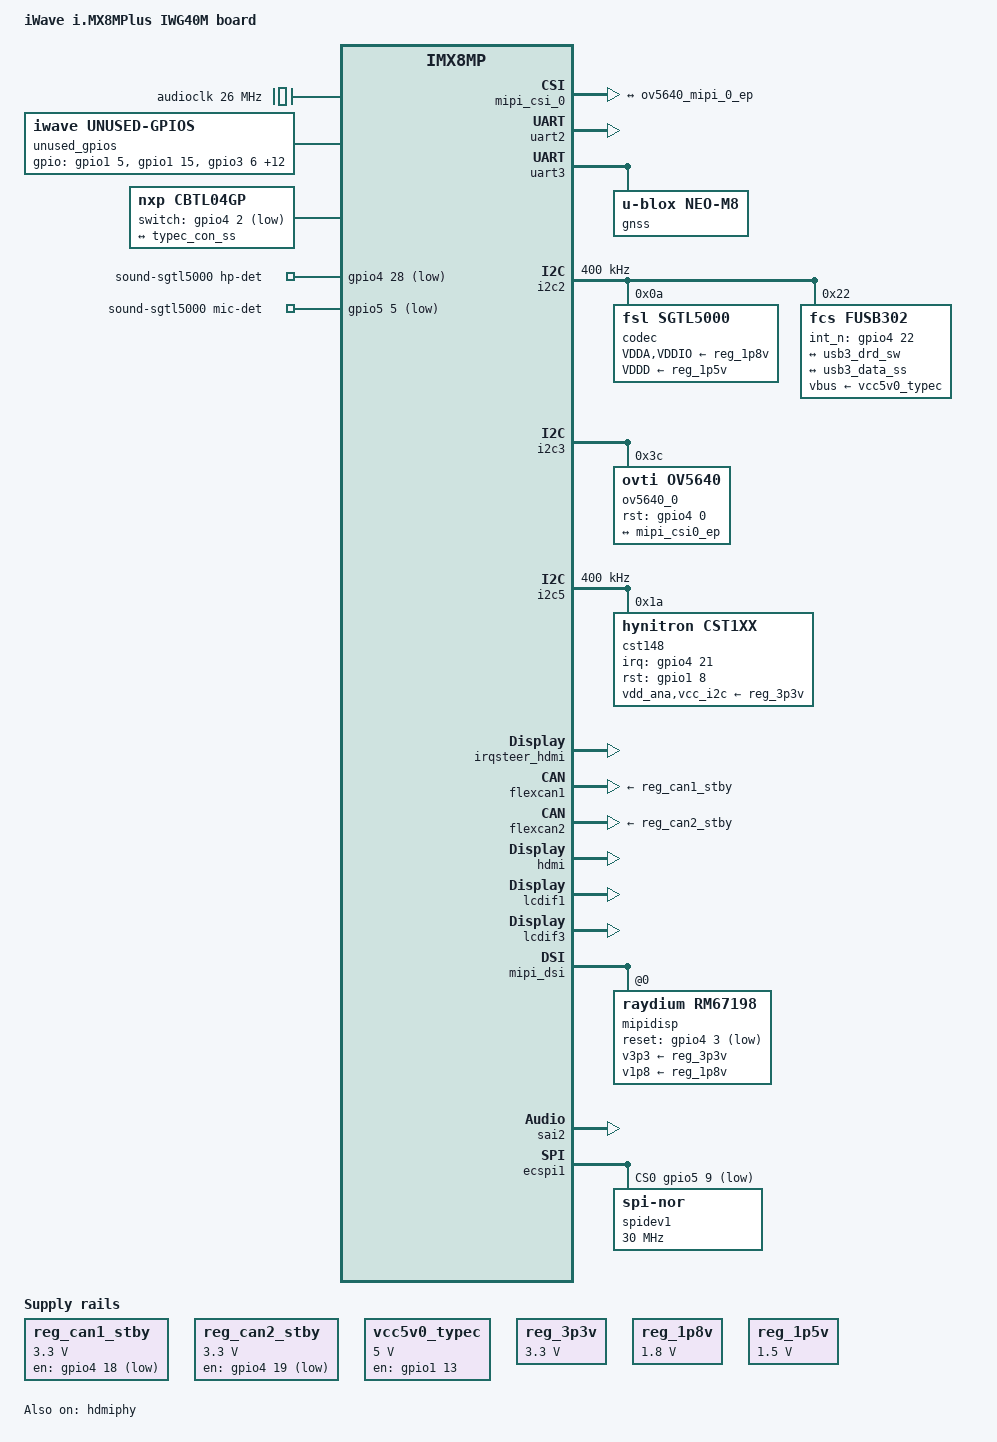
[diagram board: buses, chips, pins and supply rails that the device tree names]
// SPDX-License-Identifier: (GPL-2.0+ OR MIT)
/*
 * Copyright (C) 2021 iWave System Technologies Pvt Ltd. 
 */

/dts-v1/;

#include <dt-bindings/usb/pd.h>
#include "imx8mp-iwg40m.dtsi"

/ {
	model = "iWave i.MX8MPlus IWG40M board";
	compatible = "fsl,imx8mp-iwave", "fsl,imx8mp";

        clocks {
                #address-cells = <1>;
                #size-cells = <0>;

                audioclk: ext26Mz { /* SGTL5000: External Audio Clock */
                        compatible = "fixed-clock";
                        clock-frequency = <26000000>;
                        reg=<0>;
                        #clock-cells = <0>;
                };
        };

        unused_gpios: unused_gpios { /* GPIO: Setting Unused GPIOs as input pins */
                compatible = "iwave,unused-gpios";
                pinctrl-names = "default";
                pinctrl-0 = <&pinctrl_unused_gpio>;
                status = "okay";
        };

	reg_can1_stby: regulator-can1-stby { /* CAN: CAN0 Standby Regulator */
		compatible = "regulator-fixed";
		regulator-name = "can1-stby";
		pinctrl-names = "default";
		pinctrl-0 = <&pinctrl_flexcan1_reg>;
		regulator-min-microvolt = <3300000>;
		regulator-max-microvolt = <3300000>;
		gpio = <&gpio4 18 GPIO_ACTIVE_HIGH>;
		regulator-always-on;
	};

	reg_can2_stby: regulator-can2-stby { /* CAN: CAN1 Standby Regulator */
		compatible = "regulator-fixed";
		regulator-name = "can2-stby";
		pinctrl-names = "default";
		pinctrl-0 = <&pinctrl_flexcan2_reg>;
		regulator-min-microvolt = <3300000>;
		regulator-max-microvolt = <3300000>;
		gpio = <&gpio4 19 GPIO_ACTIVE_HIGH>;
		regulator-always-on;
	};

        vcc5v0_typec: vcc5v0-typec-regulator { /* USB3.0: VBUS enable regulator*/
                compatible = "regulator-fixed";
                regulator-name = "vcc5v0_typec";
                pinctrl-names = "default";
                pinctrl-0 = <&pinctrl_usb0_reg>;
                regulator-min-microvolt = <5000000>;
                regulator-max-microvolt = <5000000>;
                gpio = <&gpio1 13 GPIO_ACTIVE_HIGH>;
                off-on-delay-us = <20000>;
                enable-active-high;
        };

        reg_3p3v: 3p3v { /* Regulator: Fixed 3.3V Regulator */
                compatible = "regulator-fixed";
                regulator-name = "3P3V";
                regulator-min-microvolt = <3300000>;
                regulator-max-microvolt = <3300000>;
                regulator-always-on;
                regulator-boot-on;
        };

        reg_1p8v: 1p8v { /* Regulator: Fixed 1.8V Regulator */
                compatible = "regulator-fixed";
                regulator-name = "1P8V";
                regulator-min-microvolt = <1800000>;
                regulator-max-microvolt = <1800000>;
                regulator-always-on;
        };

        reg_1p5v: 1p5v { /* Regulator: Fixed 1.5V Regulator */
               compatible = "regulator-fixed";
               regulator-name = "1P5V";
               regulator-min-microvolt = <1500000>;
               regulator-max-microvolt = <1500000>;
               regulator-always-on;
       };

	cbtl04gp {
		compatible = "nxp,cbtl04gp";
		pinctrl-names = "default";
		pinctrl-0 = <&pinctrl_typec_mux>;
		switch-gpios = <&gpio4 2 GPIO_ACTIVE_LOW>;
		orientation-switch;

		port {
			usb3_data_ss: endpoint {
				remote-endpoint = <&typec_con_ss>;
			};
		};
	};

        sound-hdmi {
		status = "okay";
	};

       	sound-sgtl5000 { /* SGTL5000: Audio Codec */
               compatible = "simple-audio-card";
               pinctrl-names = "default";
               pinctrl-0 = <&pinctrl_hp_mic_detect>;
               codec-master;
               simple-audio-card,name = "sgtl5000-audio";
               simple-audio-card,format = "i2s";
               simple-audio-card,hp-det-gpio = <&gpio4 28 GPIO_ACTIVE_LOW>;
               simple-audio-card,mic-det-gpio = <&gpio5 5 GPIO_ACTIVE_LOW>;
               simple-audio-card,widgets =
                       "Microphone", "Mic Jack",
                       "Headphone", "Headphones",
                       "Speaker", "Speaker Ext",
                       "Line", "Line In Jack";
               simple-audio-card,routing =
                       "MIC_IN", "Mic Jack",
                       "Mic Jack", "Mic Bias",
                       "LINE_IN", "Line In Jack",
                       "Headphones", "HP_OUT",
                       "Speaker Ext", "LINE_OUT";      

               simple-audio-card,cpu {
                       sound-dai = <&sai2>;
                       frame-master;
                       bitclock-master;
               };

               simple-audio-card,codec {
                       sound-dai = <&codec>;
                       frame-master;
                       bitclock-master;
                       system-clock-frequency = <26000000>;
               };
       };
};

&mipi_csi_0 { /* MIPI_CSI0: OV5640 Camera */
        #address-cells = <1>;
        #size-cells = <0>;
        status = "okay";

        port@0 {
                reg = <0>;
                mipi_csi0_ep: endpoint {
                        remote-endpoint = <&ov5640_mipi_0_ep>;
                        data-lanes = <2>;
                        csis-hs-settle = <13>;
                        csis-clk-settle = <2>;
                        csis-wclk;
                };
        };
};

&uart2 {
        pinctrl-names = "default";
        pinctrl-0 = <&pinctrl_uart2>;
        assigned-clocks = <&clk IMX8MP_CLK_UART2>;
        assigned-clock-parents = <&clk IMX8MP_SYS_PLL1_80M>;
        fsl,uart-has-rtscts;
        status = "okay";
};

&uart3 {
        pinctrl-names = "default";
        pinctrl-0 = <&pinctrl_uart3>;
        assigned-clocks = <&clk IMX8MP_CLK_UART3>;
        assigned-clock-parents = <&clk IMX8MP_SYS_PLL1_80M>;
        status = "okay";

           gnss {
                compatible = "u-blox,neo-m8";
                status = "okay";
                current-speed = <9600>;
        };
};

&i2c2 {
	clock-frequency = <400000>;
	pinctrl-names = "default";
	pinctrl-0 = <&pinctrl_i2c2>;
	status = "okay";

        codec: sgtl5000@a { /* SGTL5000: Audio Codec */
               compatible = "fsl,sgtl5000";
               reg = <0xa>;
               #sound-dai-cells = <0>;
	       clocks = <&audioclk>;
               VDDA-supply = <&reg_1p8v>;
               VDDIO-supply = <&reg_1p8v>;
               VDDD-supply = <&reg_1p5v>;
               status = "okay";
        };


	fusb302: typec-port@22 { /* FUSB TypeC */
		 compatible = "fcs,fusb302";
		 reg = <0x22>;
		 pinctrl-names = "default"; 
		 pinctrl-0 = <&pinctrl_typec>;
		 fcs,int_n = <&gpio4 22 IRQ_TYPE_LEVEL_LOW>;
		 vbus-supply = <&vcc5v0_typec>;
		 status = "okay";

		 port {
			typec_dr_sw: endpoint {
			remote-endpoint = <&usb3_drd_sw>;
			};
		};

	usb_con: connector {
		 compatible = "usb-c-connector";
		 label = "USB-C";
		 power-role = "dual";
		 try-power-role = "sink";
		 source-pdos = <PDO_FIXED(5000, 400, PDO_FIXED_DUAL_ROLE | PDO_FIXED_DATA_SWAP | PDO_FIXED_USB_COMM)>;
		 sink-pdos = <PDO_FIXED(5000, 400, PDO_FIXED_DUAL_ROLE | PDO_FIXED_DATA_SWAP | PDO_FIXED_USB_COMM)>;
		 op-sink-microwatt = <2500000>;
		 data-role = "dual";

		 ports {
			#address-cells = <1>;
			#size-cells = <0>;

			 port@1 {
				 reg = <1>;
				typec_con_ss: endpoint {
					remote-endpoint = <&usb3_data_ss>;
					};
				 };
			 };
		 };
	};
};

&i2c3 { /* MIPI_CSI0: OV5640 Camera */
        ov5640_0: ov5640_mipi@3c { 
		compatible = "ovti,ov5640";
		reg = <0x3c>;
		status = "okay";
		pinctrl-names = "default";
		pinctrl-0 = <&pinctrl_csi0_rst>,<&pinctrl_csi_mclk>;
                clocks = <&clk IMX8MP_CLK_IPP_DO_CLKO1>;
                clock-names = "xclk";
                assigned-clocks = <&clk IMX8MP_CLK_IPP_DO_CLKO1>;
                assigned-clock-parents = <&clk IMX8MP_CLK_24M>;
		assigned-clock-rates = <24000000>;
		csi_id = <0>;
		rst-gpios = <&gpio4 0 GPIO_ACTIVE_HIGH>;
		mclk = <24000000>;
		mclk_source = <0>;
		mipi_csi;

		port {
                        ov5640_mipi_0_ep: endpoint {
                                remote-endpoint = <&mipi_csi0_ep>;
                                data-lanes = <1 2>;
                                clock-lanes = <0>;
                        };
                };
        };
};

&i2c5 {
        clock-frequency = <400000>;
        pinctrl-names = "default";
        pinctrl-0 = <&pinctrl_i2c5>;
        status = "okay";

       cst148@1a { /* Touch: Hynitron Touch panel (1080p display) */
               compatible = "hynitron,cst1xx";
               reg = <0x1a>;
               interrupt-parent = <&gpio4>;
               interrupts = <21 2>;
               vdd_ana-supply = <&reg_3p3v>;
               vcc_i2c-supply = <&reg_3p3v>;
               hynitron,panel-coords = <0 1080 0 1920>;
               hynitron,display-coords = <0 1080 0 1920>;
               pinctrl-names = "default";
               pinctrl-0 = <&pinctrl_ts_active_iwg40m>;
               hynitron,irq-gpio = <&gpio4 21 0>;
               hynitron,rst-gpio = <&gpio1 8 0>;
               report_type = <1>;
               status = "okay";
       };	
};

&irqsteer_hdmi {
	status = "okay";
};

&flexcan1 { /* CAN: FLEXCAN1 */
	xceiver-supply = <&reg_can1_stby>;
	status = "okay";
};

&flexcan2 { /* CAN: FLEXCAN2 */
	xceiver-supply = <&reg_can2_stby>;
	status = "okay";
};

&hdmi {
        status = "okay";
};

&hdmiphy {
        status = "okay";
};

&lcdif1 { /*LCD Display controller*/
	status = "okay";
};

&lcdif3 { /*HDMI Display contoller*/
	status = "okay";

	thres-low  = <1 2>;             /* (FIFO * 1 / 2) */
	thres-high = <3 4>;             /* (FIFO * 3 / 4) */
};

&mipi_dsi {
       status = "okay";
       fsl,clock-drop-level = <2>;

       mipidisp: panel@0 { /* MIPI_DSI: MIPI DSI Host */
               compatible = "raydium,rm67198";
               reg = <0>;
               pinctrl-0 = <&pinctrl_mipi_dsi_en>;
               pinctrl-names = "default";
               v3p3-supply = <&reg_3p3v>;
               v1p8-supply = <&reg_1p8v>;
               reset-gpios = <&gpio4 3 GPIO_ACTIVE_LOW>;
               dsi-lanes = <4>;
               video-mode = <2>;
               width-mm = <68>;
               height-mm = <121>;
	       status = "okay";
       };

};

&sai2 {  /* SGTL5000: Serial Audio Interface for SGTL5000 Audio Codec */
	#sound-dai-cells = <0>;
	pinctrl-names = "default";
	pinctrl-0 = <&pinctrl_sai2>;
	assigned-clocks = <&clk IMX8MP_CLK_SAI2>;
	assigned-clock-parents = <&clk IMX8MP_AUDIO_PLL1_OUT>;
	assigned-clock-rates = <24576000>;
	status = "okay";
};

&sdma2 {
	status = "okay";
};

&ecspi1 { /*ECSPI Flash Device */
        #address-cells = <1>;
        #size-cells = <0>;
        fsl,spi-num-chipselects = <1>;
        pinctrl-names = "default";
        pinctrl-0 = <&pinctrl_ecspi1>;
        cs-gpios = <&gpio5 9 GPIO_ACTIVE_LOW>;
        status = "okay";

        spidev1: spi@0 { /* SST25WF020A SPI Flash */
                #address-cells = <1>;
                #size-cells = <1>;
                compatible = "jedec,spi-nor", "is25wp016d";
                spi-max-frequency = <30000000>;
                reg = <0>;
                m25p,fast-read;
                status = "okay";
        };
};

&iomuxc {
        
	pinctrl_ecspi1: ecspi1grp { /* ECSPI: ECSPI IOMUX Pin Configuration */
                fsl,pins = <
                        MX8MP_IOMUXC_ECSPI1_SCLK__ECSPI1_SCLK           0x82
                        MX8MP_IOMUXC_ECSPI1_MOSI__ECSPI1_MOSI           0x82
                        MX8MP_IOMUXC_ECSPI1_MISO__ECSPI1_MISO           0x82
                        MX8MP_IOMUXC_ECSPI1_SS0__GPIO5_IO09             0x21
                >;
        };

	pinctrl_flexcan1_reg: flexcan1reggrp {
		fsl,pins = <
			MX8MP_IOMUXC_SAI1_TXD6__GPIO4_IO18	0x154
		>;
	};

	pinctrl_flexcan2_reg: flexcan2reggrp {
		fsl,pins = <
			MX8MP_IOMUXC_SAI1_TXD7__GPIO4_IO19	0x154
		>;
	};

	pinctrl_i2c2: i2c2grp { /* I2C2: I2C2 IOMUX Pin Configuration */
		fsl,pins = <
			MX8MP_IOMUXC_I2C2_SCL__I2C2_SCL			0x400001c3
			MX8MP_IOMUXC_I2C2_SDA__I2C2_SDA			0x400001c3
		>;
	};

        pinctrl_i2c5: i2c5grp { /* I2C2: I2C2 IOMUX Pin Configuration */
                fsl,pins = <
                        MX8MP_IOMUXC_SPDIF_TX__I2C5_SCL                 0x400001c3
                        MX8MP_IOMUXC_SPDIF_RX__I2C5_SDA                 0x400001c3
                >;
        };

	pinctrl_ts_active_iwg40m: touch { /* Touch: IOMUX Pin Configuration */
		fsl,pins = <
			MX8MP_IOMUXC_SAI2_RXFS__GPIO4_IO21		0x1c4 /* Touch IRQ GPIO */
			MX8MP_IOMUXC_GPIO1_IO08__GPIO1_IO08		0x1c4 /* Touch Reset GPIO */
                >;
        };

	pinctrl_mipi_dsi_en: mipi_dsi_en {
		fsl,pins = <
			MX8MP_IOMUXC_SAI1_RXD1__GPIO4_IO03	0x16 /* Reset GPIO */
		>;
	};

	pinctrl_typec: typecgrp {
		fsl,pins = <
			MX8MP_IOMUXC_SAI2_RXC__GPIO4_IO22	0x1c4 /* Type C IRQ GPIO*/
		>;
	};

	pinctrl_typec_mux: typecmuxgrp {
		fsl,pins = <
			MX8MP_IOMUXC_SAI1_RXD0__GPIO4_IO02	0x1c4 /* Type C selection GPIO*/
		>;
	};

	pinctrl_sai2: sai2grp { /* SGTL5000: SAI Audio IOMUX Pin Configuration */
		fsl,pins = <
			MX8MP_IOMUXC_SAI2_TXC__AUDIOMIX_SAI2_TX_BCLK	0xd6
			MX8MP_IOMUXC_SAI2_TXFS__AUDIOMIX_SAI2_TX_SYNC	0xd6
			MX8MP_IOMUXC_SAI2_TXD0__AUDIOMIX_SAI2_TX_DATA00	0xd6
			MX8MP_IOMUXC_SAI2_RXD0__AUDIOMIX_SAI2_RX_DATA00	0xd6
		>;
	};

       pinctrl_hp_mic_detect: hp_mic_detect { /* SGTL5000: IOMUX Pin Configuration */
               fsl,pins = <
			MX8MP_IOMUXC_SAI3_RXFS__GPIO4_IO28		0x1c4 /* HeadPhone Detect GPIO */
			MX8MP_IOMUXC_SPDIF_EXT_CLK__GPIO5_IO05		0x1c4 /* MicroPhone Detect GPIO */
		>;
	};

        pinctrl_uart2: uart2grp { /*UART1: DATA UART IOMUX Pin Configuration*/
                fsl,pins = <
                        MX8MP_IOMUXC_UART2_TXD__UART2_DCE_TX          0x140
                        MX8MP_IOMUXC_UART2_RXD__UART2_DCE_RX          0x140
                        MX8MP_IOMUXC_SAI3_RXC__UART2_DCE_CTS          0x140
                        MX8MP_IOMUXC_SAI3_RXD__UART2_DCE_RTS         0x140
                >;
        };

        pinctrl_uart3: uart3grp { /*UART3: GNSS IOMUX Pin Configuration*/
                fsl,pins = <
			MX8MP_IOMUXC_NAND_CE0_B__UART3_DCE_TX    0x49
			MX8MP_IOMUXC_NAND_ALE__UART3_DCE_RX   0x49
                >;
        };

        pinctrl_usb0_reg: usbreggrp { /*USB OverCurrent IOMUX Pin Configuration */
                fsl,pins = <
                        MX8MP_IOMUXC_GPIO1_IO13__GPIO1_IO13      0x154
                >;
        };

	pinctrl_csi0_rst: csi0_rst_grp { /* MIPI_CSI0: Camera Reset IOMUX Pin Configuration */
		fsl,pins = <
			MX8MP_IOMUXC_SAI1_RXFS__GPIO4_IO00		0x19
		>;
	};

	pinctrl_csi_mclk: csi_mclk_grp { /* MIPI_CSI0: Camera clock IOMUX Pin Configuration */
		fsl,pins = <
			MX8MP_IOMUXC_ECSPI2_MISO__CCM_CLKO1 		0x59	
		>;
	};

        pinctrl_unused_gpio: unused_gpiogrp{ /* GPIO: Unused GPIOs IOMUX Pin Configuration */
                fsl,pins = <
                        MX8MP_IOMUXC_GPIO1_IO05__GPIO1_IO05		0x1c4	  
			MX8MP_IOMUXC_GPIO1_IO15__GPIO1_IO15		0x1c4
			MX8MP_IOMUXC_NAND_DATA00__GPIO3_IO06		0x1c4
			MX8MP_IOMUXC_NAND_DATA01__GPIO3_IO07		0x1c4
			MX8MP_IOMUXC_NAND_DQS__GPIO3_IO14		0x1c4
			MX8MP_IOMUXC_SAI5_RXC__GPIO3_IO20		0x1c4
			MX8MP_IOMUXC_SAI5_RXD0__GPIO3_IO21		0x1c4
			MX8MP_IOMUXC_HDMI_CEC__GPIO3_IO28		0x1c4
			MX8MP_IOMUXC_SAI1_RXC__GPIO4_IO01		0x1c4
			MX8MP_IOMUXC_SAI2_MCLK__GPIO4_IO27		0x1c4
			MX8MP_IOMUXC_SAI3_TXFS__GPIO4_IO31		0x1c4
			MX8MP_IOMUXC_SAI3_TXC__GPIO5_IO00		0x1c4
			MX8MP_IOMUXC_SAI3_TXD__GPIO5_IO01		0x1c4
			MX8MP_IOMUXC_I2C4_SCL__GPIO5_IO20		0x1c4
			MX8MP_IOMUXC_I2C4_SDA__GPIO5_IO21		0x1c4
                >;
        };
};

&unused_gpios { /* GPIO: iWave Unused GPIO pins */
        gpios = <&gpio1 5  0>,
		<&gpio1 15 0>,
		<&gpio3 6  0>,
		<&gpio3 7  0>,
		<&gpio3 14 0>,
		<&gpio3 20 0>,
		<&gpio3 21 0>,
		<&gpio3 28 0>,
		<&gpio4 1 0>,
		<&gpio4 27 0>,
		<&gpio4 31 0>,
		<&gpio5 0  0>,
		<&gpio5 1 0>,
		<&gpio5 20 0>,
		<&gpio5 21 0>;
};
